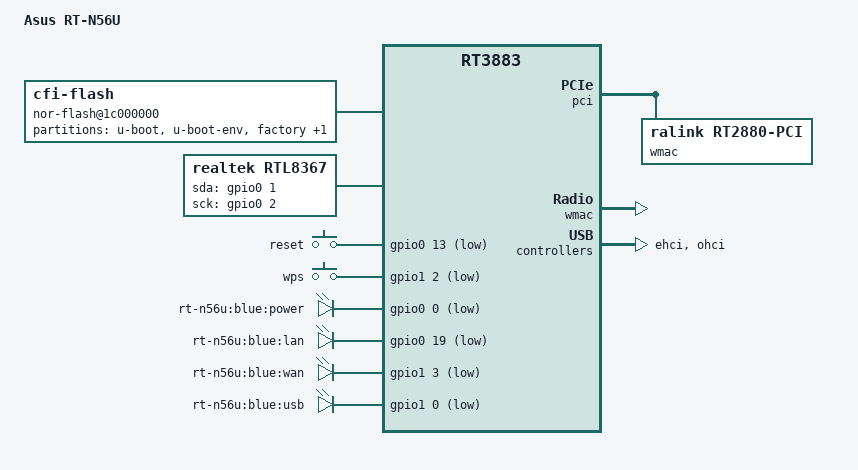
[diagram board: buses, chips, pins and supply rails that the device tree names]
/dts-v1/;

#include "rt3883.dtsi"

/ {
	compatible = "RT-N56U", "ralink,rt3883-soc";
	model = "Asus RT-N56U";

	nor-flash@1c000000 {
		compatible = "cfi-flash";
		reg = <0x1c000000 0x800000>;
		bank-width = <2>;
		#address-cells = <1>;
		#size-cells = <1>;

		partition@0 {
			reg = <0x0 0x0030000>;
			label = "u-boot";
			read-only;
		};

		partition@30000 {
			reg = <0x00030000 0x00010000>;
			label = "u-boot-env";
			read-only;
		};

		factory: partition@40000 {
			reg = <0x00040000 0x00010000>;
			label = "factory";
			read-only;
		};

		partition@50000 {
			reg = <0x00050000 0x007b0000>;
			label = "firmware";
		};
	};

	rtl8367 {
		compatible = "realtek,rtl8367";
		gpio-sda = <&gpio0 1 0>;
		gpio-sck = <&gpio0 2 0>;
		realtek,extif1 = <1 0 1 1 1 1 1 1 2>;
	};

	gpio-keys-polled {
		compatible = "gpio-keys-polled";
		#address-cells = <1>;
		#size-cells = <0>;
		poll-interval = <100>;

		reset {
			label = "reset";
			gpios = <&gpio0 13 1>;
			linux,code = <0x198>;
		};

		wps {
			label = "wps";
			gpios = <&gpio1 2 1>;
			linux,code = <0x211>;
		};
	};

	gpio-leds {
		compatible = "gpio-leds";

		power {
			label = "rt-n56u:blue:power";
			gpios = <&gpio0 0 1>;
		};

		lan {
			label = "rt-n56u:blue:lan";
			gpios = <&gpio0 19 1>;
		};

		wan {
			label = "rt-n56u:blue:wan";
			gpios = <&gpio1 3 1>;
		};

		usb {
			label = "rt-n56u:blue:usb";
			gpios = <&gpio1 0 1>;
		};
	};
};

&gpio1 {
	status = "okay";
};

&pinctrl {
	state_default: pinctrl0 {
		gpio {
			ralink,group = "spi", "i2c", "jtag", "uartf";
			ralink,function = "gpio";
		};
	};
};

&ethernet {
	mtd-mac-address = <&factory 0x4>;

	port@0 {
		mediatek,fixed-link = <1000 1 1 1>;
	};
};

&pci {
	status = "okay";
	pinctrl-names = "default";
	pinctrl-0 = <&pci_pins>;

	pci_pins: pci {
		pci {
			ralink,group = "pci";
			ralink,function = "pci-fnc";
		};
	};

	host-bridge {
		pci-bridge@1 {
			status = "okay";

			wmac@0,0 {
				compatible = "ralink,rt2880-pci", "pciclass060400", "pciclass0604";
				reg = < 0x10000 0 0 0 0 >;
				ralink,eeprom = "rt2x00pci_1_0.eeprom";
			};
		};
	};
};

&wmac {
	status = "okay";
	ralink,2ghz = <0>;
	ralink,mtd-eeprom = <&factory 0>;
};

&ehci {
	status = "okay";
};

&ohci {
	status = "okay";
};
